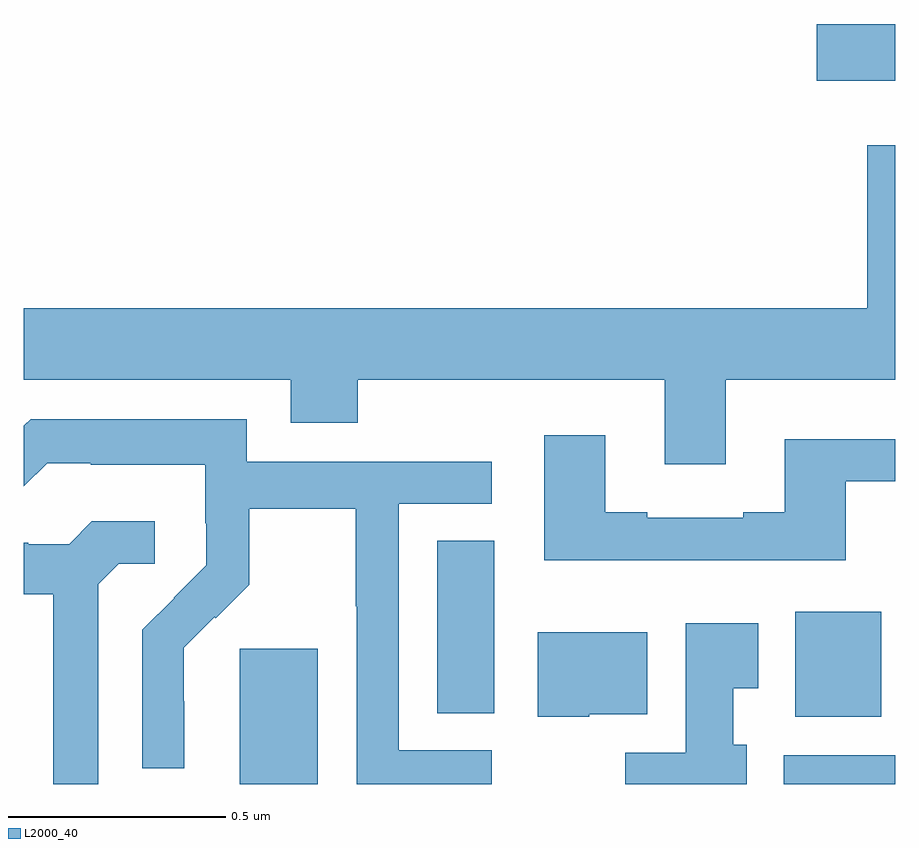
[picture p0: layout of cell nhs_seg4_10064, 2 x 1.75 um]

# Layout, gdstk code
import gdstk
lib = gdstk.Library(unit=1e-6, precision=1e-09)
def R(c, l, rs):  # rectangles x0, y0, x1, y1
    for r in rs: c.add(gdstk.rectangle(r[:2], r[2:], *l))
def P(c, l, *ps):  # polygons
    for p in ps: c.add(gdstk.Polygon(p, *l))
L2000_40 = (2000, 40)

nhs_seg4_10064 = lib.new_cell('nhs_seg4_10064')
R(nhs_seg4_10064, L2000_40, [(235.496,787.9,235.675,788.211), (236.744,787.9,237,787.966), (236.771,788.054,236.968,788.296), (235.949,788.062,236.08,788.459), (236.82,789.515,237,789.645)])
P(nhs_seg4_10064, L2000_40, [(236.611,788.828),(237,788.828),(237,789.367),(236.936,789.367),(236.936,788.992),(235,788.992),(235,788.828),(235.613,788.828),(235.613,788.729),(235.766,788.729),(235.766,788.828),(236.471,788.828),(236.471,788.634),(236.611,788.634)],
  [(236.074,787.977),(235.86,787.977),(235.86,788.544),(236.074,788.544),(236.074,788.64),(235.512,788.64),(235.512,788.737),(235.015,788.737),(235,788.722),(235,788.584),(235.053,788.637),(235.153,788.637),(235.153,788.633),(235.416,788.633),(235.416,788.499),(235.418,788.499),(235.418,788.402),(235.344,788.328),(235.345,788.327),(235.272,788.254),(235.272,787.936),(235.368,787.936),(235.368,788.09),(235.367,788.09),(235.367,788.213),(235.437,788.283),(235.44,788.28),(235.517,788.357),(235.517,788.532),(235.762,788.532),(235.762,788.308),(235.764,788.308),(235.764,787.9),(236.074,787.9)],
  [(236.887,788.595),(237,788.595),(237,788.692),(236.747,788.692),(236.747,788.524),(236.651,788.524),(236.651,788.511),(236.431,788.511),(236.431,788.524),(236.335,788.524),(236.335,788.701),(236.195,788.701),(236.195,788.414),(236.887,788.414)],
  [(235.171,788.359),(235.218,788.406),(235.3,788.406),(235.3,788.503),(235.156,788.503),(235.104,788.451),(235.01,788.451),(235.01,788.454),(235,788.454),(235,788.336),(235.067,788.336),(235.067,787.9),(235.171,787.9)],
  [(236.659,787.99),(236.629,787.99),(236.629,788.12),(236.686,788.12),(236.686,788.269),(236.519,788.269),(236.519,787.972),(236.38,787.972),(236.38,787.9),(236.659,787.9)],
  [(236.298,788.06),(236.431,788.06),(236.431,788.248),(236.18,788.248),(236.18,788.054),(236.298,788.054)])

lib.write_gds('nhs_seg4_10064.gds')
